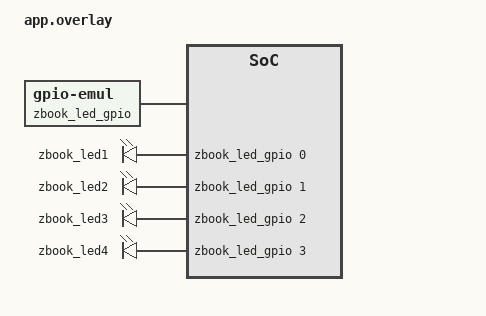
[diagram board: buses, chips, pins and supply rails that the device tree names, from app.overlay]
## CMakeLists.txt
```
# SPDX-License-Identifier: Apache-2.0
#
# Copyright (c) Centro de Inovacao EDGE - 2026

cmake_minimum_required(VERSION 3.20.0)

find_package(Zephyr REQUIRED HINTS $ENV{ZEPHYR_BASE})

project(test_zbook_led)

target_sources(app PRIVATE src/main.c)
```

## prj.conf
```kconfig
# SPDX-License-Identifier: Apache-2.0
#
# Copyright (c) Centro de Inovacao EDGE

CONFIG_ZTEST=y

# Fine tick resolution so blink periods (ms) aren't aliased by the tick rate
# when sampling the emulated GPIO output between toggles.
CONFIG_SYS_CLOCK_TICKS_PER_SEC=1000

CONFIG_GPIO=y
CONFIG_GPIO_EMUL=y

CONFIG_ZBOOK_INTERFACE_ACTUATORS_LED=y
CONFIG_LED_LOG_LEVEL_ERR=y

CONFIG_ZBOOK_INTERFACE_ACTUATORS=y

# Small periods so blink tests don't burn real wall-clock/simulated time.
CONFIG_ZBOOK_INTERFACE_ACTUATORS_LED_BLINK_DEFAULT_MS=20
CONFIG_ZBOOK_INTERFACE_ACTUATORS_LED_BLINK_SLOW_MS=40
CONFIG_ZBOOK_INTERFACE_ACTUATORS_LED_BLINK_FAST_MS=10
```

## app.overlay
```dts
/*
 * Fake GPIO controller + gpio-leds so zbook_led's led1..led4 aliases
 * resolve on native_sim, with pin state observable via gpio_emul.
 */

#include <zephyr/dt-bindings/gpio/gpio.h>

/ {
	/*
	 * zephyr,deferred-init keeps this controller (and so every led1..led4
	 * port) "not ready" until a test explicitly calls device_init() on
	 * it, so the driver's is_devices_ready()/-ENODEV paths are reachable.
	 */
	zbook_led_gpio: gpio_emul_0 {
		compatible = "zephyr,gpio-emul";
		gpio-controller;
		#gpio-cells = <2>;
		ngpios = <4>;
		status = "okay";
		zephyr,deferred-init;
	};

	zbook_leds {
		compatible = "gpio-leds";

		zbook_led1: led_1 {
			gpios = <&zbook_led_gpio 0 GPIO_ACTIVE_HIGH>;
		};

		zbook_led2: led_2 {
			gpios = <&zbook_led_gpio 1 GPIO_ACTIVE_HIGH>;
		};

		zbook_led3: led_3 {
			gpios = <&zbook_led_gpio 2 GPIO_ACTIVE_HIGH>;
		};

		zbook_led4: led_4 {
			gpios = <&zbook_led_gpio 3 GPIO_ACTIVE_HIGH>;
		};
	};

	aliases {
		led0 = &zbook_led1;
		led1 = &zbook_led2;
		led2 = &zbook_led3;
		led3 = &zbook_led4;
	};
};
```

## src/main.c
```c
/************************************************************************
 * @file main.c
 *
 * @brief Unit tests for the Zbook LED actuator interface.
 * @author João Matheus Nascimento Dias (joao.dias@edge.ufal.br)
 *
 * @copyright Centro de Inovação EDGE 2026. Todos os direitos reservados.
 *
 ***********************************************************************/

#include <zephyr/ztest.h>
#include <zephyr/device.h>
#include <zephyr/drivers/gpio.h>
#include <zephyr/drivers/gpio/gpio_emul.h>

#include "actuators/zbook_led.h"

#define LED0_NODE DT_ALIAS(led0)
#define LED1_NODE DT_ALIAS(led1)
#define LED2_NODE DT_ALIAS(led2)
#define LED3_NODE DT_ALIAS(led3)

/* Index matches enum zbook_led (ZBOOK_LED_0..ZBOOK_LED_3). */
static const struct gpio_dt_spec test_led[] = {
	GPIO_DT_SPEC_GET(LED0_NODE, gpios),
	GPIO_DT_SPEC_GET(LED1_NODE, gpios),
	GPIO_DT_SPEC_GET(LED2_NODE, gpios),
	GPIO_DT_SPEC_GET(LED3_NODE, gpios),
};

static int led_pin_value(enum zbook_led led)
{
	return gpio_emul_output_get(test_led[led].port, test_led[led].pin);
}

ZTEST_SUITE(zbook_hw_errors, NULL, NULL, NULL, NULL, NULL);

ZTEST(zbook_hw_errors, test_init_fails_while_device_not_ready)
{
	const struct device *gpio_ctrl = DEVICE_DT_GET(DT_NODELABEL(zbook_led_gpio));

	zassert_false(device_is_ready(gpio_ctrl), "test setup: gpio controller already ready");

	zassert_equal(-ENODEV, zbook_led_init());

	zassert_ok(device_init(gpio_ctrl), "failed to bring up gpio controller for later tests");
	zassert_true(device_is_ready(gpio_ctrl));
}

static void assert_led_blinks(enum zbook_led led, uint32_t period_ms)
{
	bool saw_on = false;
	bool saw_off = false;

	for (int i = 0; i < period_ms * 4; i++) {
		k_msleep(1);

		if (led_pin_value(led)) {
			saw_on = true;
		} else {
			saw_off = true;
		}
	}

	zassert_true(saw_on, "led %d never observed on while blinking", led);
	zassert_true(saw_off, "led %d never observed off while blinking", led);
}

static void zbook_led_before(void *fixture)
{
	ARG_UNUSED(fixture);

	zassert_ok(zbook_led_off(ZBOOK_LED_ALL), "failed to reset LEDs off");
	zassert_ok(zbook_led_init(), "zbook_led_init failed");
}

ZTEST_SUITE(zbook_led, NULL, NULL, zbook_led_before, NULL, NULL);

ZTEST(zbook_led, test_init_returns_ok_when_devices_ready)
{
	zassert_ok(zbook_led_init());
}

ZTEST(zbook_led, test_on_sets_pin_high)
{
	zassert_ok(zbook_led_on(ZBOOK_LED_1));
	zassert_equal(1, led_pin_value(ZBOOK_LED_1));
}

ZTEST(zbook_led, test_off_sets_pin_low)
{
	zassert_ok(zbook_led_on(ZBOOK_LED_1));
	zassert_ok(zbook_led_off(ZBOOK_LED_1));
	zassert_equal(0, led_pin_value(ZBOOK_LED_1));
}

ZTEST(zbook_led, test_on_off_does_not_affect_other_leds)
{
	zassert_ok(zbook_led_on(ZBOOK_LED_0));

	zassert_equal(1, led_pin_value(ZBOOK_LED_0));
	zassert_equal(0, led_pin_value(ZBOOK_LED_1));
	zassert_equal(0, led_pin_value(ZBOOK_LED_2));
	zassert_equal(0, led_pin_value(ZBOOK_LED_3));
}

ZTEST(zbook_led, test_all_turns_on_every_led)
{
	zassert_ok(zbook_led_on(ZBOOK_LED_ALL));

	for (enum zbook_led led = ZBOOK_LED_0; led <= ZBOOK_LED_3; led++) {
		zassert_equal(1, led_pin_value(led), "led %d not on", led);
	}
}

ZTEST(zbook_led, test_all_turns_off_every_led)
{
	zassert_ok(zbook_led_on(ZBOOK_LED_ALL));
	zassert_ok(zbook_led_off(ZBOOK_LED_ALL));

	for (enum zbook_led led = ZBOOK_LED_0; led <= ZBOOK_LED_3; led++) {
		zassert_equal(0, led_pin_value(led), "led %d not off", led);
	}
}

ZTEST(zbook_led, test_on_rejects_invalid_led)
{
	zassert_equal(-EINVAL, zbook_led_on((enum zbook_led) - 1));
	zassert_equal(-EINVAL, zbook_led_on((enum zbook_led)(ZBOOK_LED_ALL + 1)));
}

ZTEST(zbook_led, test_off_rejects_invalid_led)
{
	zassert_equal(-EINVAL, zbook_led_off((enum zbook_led) - 1));
	zassert_equal(-EINVAL, zbook_led_off((enum zbook_led)(ZBOOK_LED_ALL + 1)));
}

ZTEST(zbook_led, test_blink_rejects_invalid_led)
{
	zassert_equal(-EINVAL, zbook_led_blink((enum zbook_led) - 1, ZBOOK_LED_BLINK_DEFAULT));
	zassert_equal(-EINVAL, zbook_led_blink((enum zbook_led)(ZBOOK_LED_ALL + 1),
					       ZBOOK_LED_BLINK_DEFAULT));
}

ZTEST(zbook_led, test_blink_rejects_invalid_state)
{
	zassert_equal(-EINVAL, zbook_led_blink(ZBOOK_LED_0, (enum zbook_led_state) - 1));
	zassert_equal(-EINVAL, zbook_led_blink(ZBOOK_LED_0, ZBOOK_LED_STATE_AMOUNT));
}

ZTEST(zbook_led, test_blink_fast_toggles_pin_periodically)
{
	zassert_ok(zbook_led_blink(ZBOOK_LED_2, ZBOOK_LED_BLINK_FAST));
	assert_led_blinks(ZBOOK_LED_2, CONFIG_ZBOOK_INTERFACE_ACTUATORS_LED_BLINK_FAST_MS);
}

ZTEST(zbook_led, test_blink_default_toggles_pin_periodically)
{
	zassert_ok(zbook_led_blink(ZBOOK_LED_2, ZBOOK_LED_BLINK_DEFAULT));
	assert_led_blinks(ZBOOK_LED_2, CONFIG_ZBOOK_INTERFACE_ACTUATORS_LED_BLINK_DEFAULT_MS);
}

ZTEST(zbook_led, test_blink_slow_toggles_pin_periodically)
{
	zassert_ok(zbook_led_blink(ZBOOK_LED_2, ZBOOK_LED_BLINK_SLOW));
	assert_led_blinks(ZBOOK_LED_2, CONFIG_ZBOOK_INTERFACE_ACTUATORS_LED_BLINK_SLOW_MS);
}

ZTEST(zbook_led, test_blink_all_toggles_every_led)
{
	zassert_ok(zbook_led_blink(ZBOOK_LED_ALL, ZBOOK_LED_BLINK_FAST));

	for (enum zbook_led led = ZBOOK_LED_0; led <= ZBOOK_LED_3; led++) {
		assert_led_blinks(led, CONFIG_ZBOOK_INTERFACE_ACTUATORS_LED_BLINK_FAST_MS);
	}
}

ZTEST(zbook_led, test_on_stops_blink)
{
	zassert_ok(zbook_led_blink(ZBOOK_LED_3, ZBOOK_LED_BLINK_FAST));
	k_msleep(CONFIG_ZBOOK_INTERFACE_ACTUATORS_LED_BLINK_FAST_MS * 3);

	zassert_ok(zbook_led_on(ZBOOK_LED_3));

	for (int i = 0; i < 5; i++) {
		k_msleep(CONFIG_ZBOOK_INTERFACE_ACTUATORS_LED_BLINK_FAST_MS);
		zassert_equal(1, led_pin_value(ZBOOK_LED_3),
			      "LED toggled after on() stopped the blink");
	}
}

ZTEST(zbook_led, test_off_stops_blink)
{
	zassert_ok(zbook_led_blink(ZBOOK_LED_3, ZBOOK_LED_BLINK_FAST));
	k_msleep(CONFIG_ZBOOK_INTERFACE_ACTUATORS_LED_BLINK_FAST_MS * 3);

	zassert_ok(zbook_led_off(ZBOOK_LED_3));

	for (int i = 0; i < 5; i++) {
		k_msleep(CONFIG_ZBOOK_INTERFACE_ACTUATORS_LED_BLINK_FAST_MS);
		zassert_equal(0, led_pin_value(ZBOOK_LED_3),
			      "LED toggled after off() stopped the blink");
	}
}

ZTEST(zbook_led, test_on_mask_affects_only_selected_leds)
{
	zassert_ok(zbook_led_on_mask(BIT(ZBOOK_LED_0) | BIT(ZBOOK_LED_2)));

	zassert_equal(1, led_pin_value(ZBOOK_LED_0));
	zassert_equal(0, led_pin_value(ZBOOK_LED_1));
	zassert_equal(1, led_pin_value(ZBOOK_LED_2));
	zassert_equal(0, led_pin_value(ZBOOK_LED_3));
}

ZTEST(zbook_led, test_off_mask_affects_only_selected_leds)
{
	zassert_ok(zbook_led_on_mask(BIT(ZBOOK_LED_ALL) - 1));
	zassert_ok(zbook_led_off_mask(BIT(ZBOOK_LED_1) | BIT(ZBOOK_LED_3)));

	zassert_equal(1, led_pin_value(ZBOOK_LED_0));
	zassert_equal(0, led_pin_value(ZBOOK_LED_1));
	zassert_equal(1, led_pin_value(ZBOOK_LED_2));
	zassert_equal(0, led_pin_value(ZBOOK_LED_3));
}

ZTEST(zbook_led, test_blink_mask_toggles_only_selected_leds)
{
	zassert_ok(zbook_led_blink_mask(BIT(ZBOOK_LED_1) | BIT(ZBOOK_LED_2), ZBOOK_LED_BLINK_FAST));

	assert_led_blinks(ZBOOK_LED_1, CONFIG_ZBOOK_INTERFACE_ACTUATORS_LED_BLINK_FAST_MS);
	assert_led_blinks(ZBOOK_LED_2, CONFIG_ZBOOK_INTERFACE_ACTUATORS_LED_BLINK_FAST_MS);
}

ZTEST(zbook_led, test_on_mask_rejects_invalid_bit)
{
	zassert_equal(-EINVAL, zbook_led_on_mask(BIT(ZBOOK_LED_ALL)));
}

ZTEST(zbook_led, test_toggle_flips_pin)
{
	zassert_ok(zbook_led_toggle(ZBOOK_LED_0));
	zassert_equal(1, led_pin_value(ZBOOK_LED_0));

	zassert_ok(zbook_led_toggle(ZBOOK_LED_0));
	zassert_equal(0, led_pin_value(ZBOOK_LED_0));
}

ZTEST(zbook_led, test_toggle_stops_blink)
{
	zassert_ok(zbook_led_blink(ZBOOK_LED_3, ZBOOK_LED_BLINK_FAST));
	k_msleep(CONFIG_ZBOOK_INTERFACE_ACTUATORS_LED_BLINK_FAST_MS * 3);

	zassert_ok(zbook_led_toggle(ZBOOK_LED_3));
	int value_after_toggle = led_pin_value(ZBOOK_LED_3);

	for (int i = 0; i < 5; i++) {
		k_msleep(CONFIG_ZBOOK_INTERFACE_ACTUATORS_LED_BLINK_FAST_MS);
		zassert_equal(value_after_toggle, led_pin_value(ZBOOK_LED_3),
			      "LED toggled again after toggle() stopped the blink");
	}
}

ZTEST(zbook_led, test_toggle_rejects_invalid_led)
{
	zassert_equal(-EINVAL, zbook_led_toggle((enum zbook_led) - 1));
	zassert_equal(-EINVAL, zbook_led_toggle((enum zbook_led)(ZBOOK_LED_ALL + 1)));
}

ZTEST(zbook_led, test_toggle_mask_affects_only_selected_leds)
{
	zassert_ok(zbook_led_toggle_mask(BIT(ZBOOK_LED_0) | BIT(ZBOOK_LED_2)));

	zassert_equal(1, led_pin_value(ZBOOK_LED_0));
	zassert_equal(0, led_pin_value(ZBOOK_LED_1));
	zassert_equal(1, led_pin_value(ZBOOK_LED_2));
	zassert_equal(0, led_pin_value(ZBOOK_LED_3));
}

ZTEST(zbook_led, test_toggle_mask_rejects_invalid_bit)
{
	zassert_equal(-EINVAL, zbook_led_toggle_mask(BIT(ZBOOK_LED_ALL)));
}

ZTEST(zbook_led, test_toggle_all_flips_every_led)
{
	zassert_ok(zbook_led_toggle(ZBOOK_LED_ALL));

	for (enum zbook_led led = ZBOOK_LED_0; led <= ZBOOK_LED_3; led++) {
		zassert_equal(1, led_pin_value(led), "led %d not on", led);
	}

	zassert_ok(zbook_led_toggle(ZBOOK_LED_ALL));

	for (enum zbook_led led = ZBOOK_LED_0; led <= ZBOOK_LED_3; led++) {
		zassert_equal(0, led_pin_value(led), "led %d not off", led);
	}
}
```
